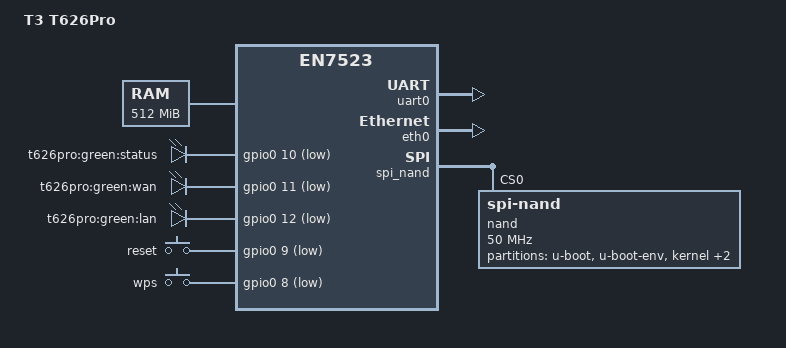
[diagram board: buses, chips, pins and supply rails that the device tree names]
/dts-v1/;

/*
 * Device Tree for T3 T626Pro (Airoha EN7529)
 * 
 * Based on: Airoha EN7523 EVB
 * SoC: EN7529 (EN7523 family)
 * Board: T3 T626Pro
 * 
 * Hardware Specs:
 * - CPU: Dual-core ARM Cortex-A53 @ 1.3 GHz
 * - RAM: 512 MB DDR3
 * - Flash: NAND (SPI-NAND) - TBD size
 * - Ethernet: 5x GbE ports (via internal switch)
 * - Serial: 1x UART (115200 8N1)
 * 
 * TODO: ปรับแต่งตามฮาร์ดแวร์จริงของ T626Pro:
 * - NAND flash size และ partitions
 * - Ethernet switch configuration
 * - GPIO pins (LEDs, buttons, reset)
 * - USB ports (ถ้ามี)
 */

#include <dt-bindings/gpio/gpio.h>
#include <dt-bindings/input/input.h>

/ {
    model = "T3 T626Pro";
    compatible = "t3,t626pro", "airoha,en7529", "airoha,en7523";

    #address-cells = <1>;
    #size-cells = <1>;

    aliases {
        serial0 = &uart0;
        ethernet0 = &eth0;
    };

    chosen {
        stdout-path = "serial0:115200n8";
        bootargs = "console=ttyS0,115200 earlycon";
    };

    memory@80000000 {
        device_type = "memory";
        reg = <0x80000000 0x20000000>; /* 512 MB */
    };

    cpus {
        #address-cells = <1>;
        #size-cells = <0>;

        cpu@0 {
            device_type = "cpu";
            compatible = "arm,cortex-a53";
            reg = <0x0>;
            enable-method = "psci";
        };

        cpu@1 {
            device_type = "cpu";
            compatible = "arm,cortex-a53";
            reg = <0x1>;
            enable-method = "psci";
        };
    };

    psci {
        compatible = "arm,psci-0.2";
        method = "smc";
    };

    /* System Controller */
    soc {
        compatible = "simple-bus";
        #address-cells = <1>;
        #size-cells = <1>;
        ranges;

        /* Serial Console */
        uart0: serial@1fbf0000 {
            compatible = "ns16550a";
            reg = <0x1fbf0000 0x1000>;
            interrupts = <0 18 4>;
            clock-frequency = <40000000>;
            reg-shift = <2>;
            reg-io-width = <4>;
            status = "okay";
        };

        /* Ethernet */
        eth0: ethernet@1fb00000 {
            compatible = "airoha,en7523-eth";
            reg = <0x1fb00000 0x10000>;
            interrupts = <0 30 4>;
            status = "okay";

            /* TODO: Configure switch ports */
            /*
            fixed-link {
                speed = <1000>;
                full-duplex;
            };
            */
        };

        /* SPI-NAND Flash Controller */
        spi_nand: spi@1fa10000 {
            compatible = "airoha,en7523-snand";
            reg = <0x1fa10000 0x1000>;
            #address-cells = <1>;
            #size-cells = <0>;
            status = "okay";

            nand@0 {
                compatible = "spi-nand";
                reg = <0>;
                spi-max-frequency = <50000000>;

                /* TODO: ปรับ partition ตามบอร์ดจริง */
                partitions {
                    compatible = "fixed-partitions";
                    #address-cells = <1>;
                    #size-cells = <1>;

                    partition@0 {
                        label = "u-boot";
                        reg = <0x00000000 0x00080000>; /* 512 KB */
                        read-only;
                    };

                    partition@80000 {
                        label = "u-boot-env";
                        reg = <0x00080000 0x00040000>; /* 256 KB */
                    };

                    partition@c0000 {
                        label = "kernel";
                        reg = <0x000c0000 0x00800000>; /* 8 MB */
                    };

                    partition@8c0000 {
                        label = "rootfs";
                        reg = <0x008c0000 0x07700000>; /* 119 MB */
                    };

                    partition@7fc0000 {
                        label = "config";
                        reg = <0x07fc0000 0x00040000>; /* 256 KB */
                    };
                };
            };
        };

        /* GPIO Controller */
        gpio0: gpio@1fbf0200 {
            compatible = "airoha,en7523-gpio";
            reg = <0x1fbf0200 0x100>;
            gpio-controller;
            #gpio-cells = <2>;
            interrupt-controller;
            #interrupt-cells = <2>;
        };
    };

    /* LEDs - TODO: ปรับตาม GPIO จริงของ T626Pro */
    leds {
        compatible = "gpio-leds";

        led_status: status {
            label = "t626pro:green:status";
            gpios = <&gpio0 10 GPIO_ACTIVE_LOW>;
            default-state = "on";
        };

        led_wan: wan {
            label = "t626pro:green:wan";
            gpios = <&gpio0 11 GPIO_ACTIVE_LOW>;
        };

        led_lan: lan {
            label = "t626pro:green:lan";
            gpios = <&gpio0 12 GPIO_ACTIVE_LOW>;
        };
    };

    /* Buttons - TODO: ปรับตาม GPIO จริง */
    keys {
        compatible = "gpio-keys";

        reset {
            label = "reset";
            gpios = <&gpio0 9 GPIO_ACTIVE_LOW>;
            linux,code = <KEY_RESTART>;
        };

        wps {
            label = "wps";
            gpios = <&gpio0 8 GPIO_ACTIVE_LOW>;
            linux,code = <KEY_WPS_BUTTON>;
        };
    };
};
